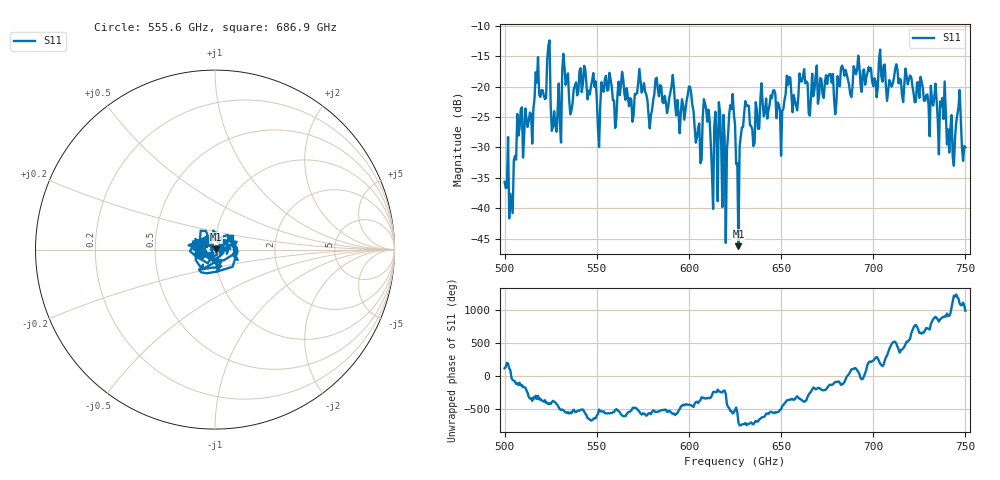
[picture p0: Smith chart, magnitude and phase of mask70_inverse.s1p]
!Created with skrf (http://scikit-rf.org).
# GHz S MA R 50.0
!freq magS11 angS11
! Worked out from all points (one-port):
!   401 points, 500 GHz to 750 GHz, reference 50 ohm
!   lowest |S11| = -46.2 dB at 626.9 GHz (marker M1), VSWR 1.01, Z = 50.5 + j0.154 ohm
!   |S11| at or under -10 dB: start of sweep to end of sweep
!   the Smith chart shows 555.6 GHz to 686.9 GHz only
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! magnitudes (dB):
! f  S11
! 500 GHz  -35.6
! 503.8 GHz  -39.2
! 508.1 GHz  -26.8
! 513.8 GHz  -24.3
! 517.5 GHz  -19.3
! 523.8 GHz  -13.3
! 526.9 GHz  -24.1
! 531.2 GHz  -17.5
! 562.5 GHz  -21.4
! 593.8 GHz  -22.2
! 600.6 GHz  -20.0
! 605.6 GHz  -26.1
! 609.4 GHz  -23.7
! 611.9 GHz  -29.4
! 617.5 GHz  -29.3
! 619.4 GHz  -28.4
! 622.5 GHz  -23.1
! 625 GHz  -26.1
! 626.9 GHz  -46.2
! 631.2 GHz  -23.1
! 634.4 GHz  -27.1
! 656.2 GHz  -24.2
! 687.5 GHz  -21.2
! 718.8 GHz  -19.6
! 737.5 GHz  -21.9
! 742.5 GHz  -24.7
! 746.2 GHz  -23.4
! 750 GHz  -30.0
